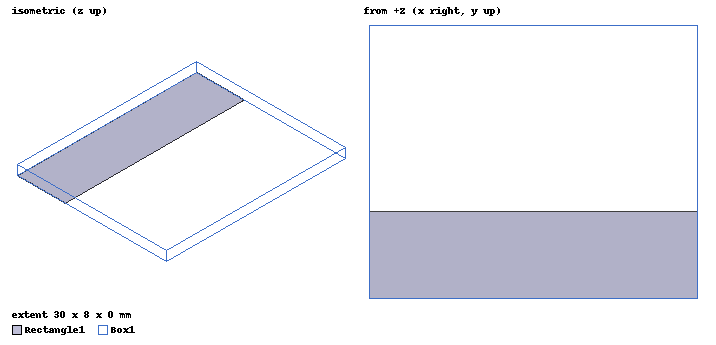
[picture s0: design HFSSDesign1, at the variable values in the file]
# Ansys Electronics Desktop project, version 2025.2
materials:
  vacuum: permittivity=1

design HFSSDesign1 (HFSS, HFSS Terminal Network, model units mm)
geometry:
  Box1 [vacuum] = box(corner=(0mm, 0mm, 0mm), size=(30mm, 25mm, 1.6mm))
  Rectangle1 = rectangle(corner=(0mm, 0mm, 0mm), x_size=30mm, y_size=8mm)
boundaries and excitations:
  PerfE1: Perfect E Objects=Box1
